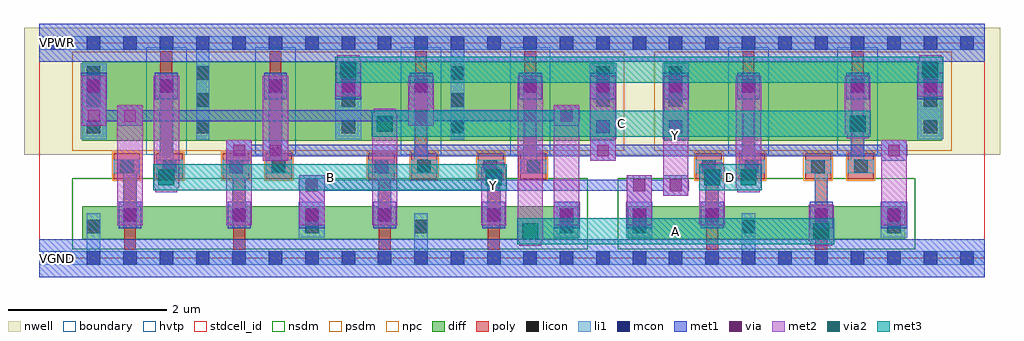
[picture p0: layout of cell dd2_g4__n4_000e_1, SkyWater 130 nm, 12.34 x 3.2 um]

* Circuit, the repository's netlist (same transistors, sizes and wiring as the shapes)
* Generated reference circuit; dimensions in micrometers.
.subckt dd2_g4__n4_000e_1 A B C D VGND VNB VPB VPWR Y
XM0 _net1 A VGND VNB sky130_fd_pr__nfet_01v8 w=0.420 l=0.150
XM1 _net1 A VPWR VPB sky130_fd_pr__pfet_01v8_hvt w=1.000 l=0.150
XM2 _net2 B VGND VNB sky130_fd_pr__nfet_01v8 w=0.420 l=0.150
XM3 _net2 B VPWR VPB sky130_fd_pr__pfet_01v8_hvt w=1.000 l=0.150
XM4 Y D VGND VNB sky130_fd_pr__nfet_01v8 w=0.420 l=0.150
XM5 Y C VGND VNB sky130_fd_pr__nfet_01v8 w=0.420 l=0.150
XM6 Y _net1 _net3 VNB sky130_fd_pr__nfet_01v8 w=0.420 l=0.150
XM7 _net3 _net2 VGND VNB sky130_fd_pr__nfet_01v8 w=0.420 l=0.150
XM8 Y D _net5 VPB sky130_fd_pr__pfet_01v8_hvt w=1.000 l=0.150
XM9 _net5 C _net4 VPB sky130_fd_pr__pfet_01v8_hvt w=1.000 l=0.150
XM10 _net4 _net1 VPWR VPB sky130_fd_pr__pfet_01v8_hvt w=1.000 l=0.150
XM11 _net4 _net2 VPWR VPB sky130_fd_pr__pfet_01v8_hvt w=1.000 l=0.150
.ends dd2_g4__n4_000e_1

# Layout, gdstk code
import gdstk
lib = gdstk.Library(unit=1e-6, precision=1e-09)
def R(c, l, rs):  # rectangles x0, y0, x1, y1
    for r in rs: c.add(gdstk.rectangle(r[:2], r[2:], *l))
def A(c, l, x, y, w, h, nx, ny, dx, dy):  # array of equal rectangles
    R(c, l, [(x+i*dx, y+j*dy, x+i*dx+w, y+j*dy+h) for i in range(nx) for j in range(ny)])
nwell = (64, 20)
diff = (65, 20)
poly = (66, 20)
licon = (66, 44)
li1 = (67, 20)
mcon = (67, 44)
met1 = (68, 20)
via = (68, 44)
met2 = (69, 20)
via2 = (69, 44)
met3 = (70, 20)
hvtp = (78, 44)
stdcell_id = (81, 4)
nsdm = (93, 44)
psdm = (94, 20)
npc = (95, 20)
boundary = (235, 4)

dd2_g4__n4_000e_1 = lib.new_cell('dd2_g4__n4_000e_1')
R(dd2_g4__n4_000e_1, nwell, [(-0.19,1.305,12.15,2.91)])
R(dd2_g4__n4_000e_1, diff, [(0.545,0.235,1.61,0.655), (1.61,0.235,3.45,0.655), (3.45,0.235,4.83,0.655), (4.83,0.235,6.815,0.655), (7.445,0.235,8.97,0.655), (8.97,0.235,10.955,0.655), (0.545,1.485,2.07,2.485), (2.07,1.485,3.91,2.485), (3.91,1.485,5.29,2.485), (5.29,1.485,7.275,2.485), (7.905,1.485,9.2,2.485), (9.2,1.485,11.415,2.485)])
R(dd2_g4__n4_000e_1, poly, [(1.075,0.105,1.225,1.325), (2.455,0.105,2.605,1.325), (4.295,0.105,4.445,1.325), (5.675,0.105,5.825,1.325), (8.435,0.105,8.585,1.325), (9.815,0.105,9.965,1.325), (0.945,0.995,1.275,1.325), (1.485,0.995,1.815,1.325), (1.535,0.995,1.685,2.615), (2.325,0.995,2.655,1.325), (2.865,0.995,3.195,1.325), (2.915,0.995,3.065,2.615), (4.165,0.995,4.495,1.325), (4.705,0.995,5.035,1.325), (4.755,0.995,4.905,2.615), (5.545,0.995,5.875,1.325), (6.085,0.995,6.415,1.325), (6.135,0.995,6.285,2.615), (8.305,0.995,8.635,1.325), (8.845,0.995,9.175,1.325), (8.895,0.995,9.045,2.615), (9.685,0.995,10.015,1.325), (10.225,0.995,10.555,1.325), (10.275,0.995,10.425,2.615)])
A(dd2_g4__n4_000e_1, licon, 0.605, 1.575, 0.17, 0.17, 1, 3, 0, 0.34)
A(dd2_g4__n4_000e_1, licon, 1.985, 1.575, 0.17, 0.17, 1, 3, 0, 0.34)
A(dd2_g4__n4_000e_1, licon, 3.825, 1.575, 0.17, 0.17, 1, 3, 0, 0.34)
A(dd2_g4__n4_000e_1, licon, 5.205, 1.575, 0.17, 0.17, 1, 3, 0, 0.34)
A(dd2_g4__n4_000e_1, licon, 7.045, 1.575, 0.17, 0.17, 1, 3, 0, 0.34)
A(dd2_g4__n4_000e_1, licon, 7.965, 1.575, 0.17, 0.17, 1, 3, 0, 0.34)
A(dd2_g4__n4_000e_1, licon, 11.185, 1.575, 0.17, 0.17, 1, 3, 0, 0.34)
R(dd2_g4__n4_000e_1, licon, [(0.605,0.315,0.775,0.485), (3.365,0.315,3.535,0.485), (4.745,0.315,4.915,0.485), (6.585,0.315,6.755,0.485), (7.505,0.315,7.675,0.485), (8.885,0.315,9.055,0.485), (10.725,0.315,10.895,0.485), (1.025,1.075,1.195,1.245), (1.565,1.075,1.735,1.245), (2.405,1.075,2.575,1.245), (2.945,1.075,3.115,1.245), (4.245,1.075,4.415,1.245), (4.785,1.075,4.955,1.245), (5.625,1.075,5.795,1.245), (6.165,1.075,6.335,1.245), (8.385,1.075,8.555,1.245), (8.925,1.075,9.095,1.245), (9.765,1.075,9.935,1.245), (10.305,1.075,10.475,1.245)])
A(dd2_g4__n4_000e_1, li1, 0.605, -0.085, 0.17, 0.65, 3, 1, 4.14, 0)
A(dd2_g4__n4_000e_1, li1, 0.525, 1.505, 0.33, 0.96, 3, 1, 3.22, 0)
A(dd2_g4__n4_000e_1, li1, 0.525, 2.01, 0.33, 0.33, 3, 1, 3.22, 0)
R(dd2_g4__n4_000e_1, li1, [(0,-0.085,11.96,0.085), (3.285,0.255,3.615,0.635), (6.505,0.255,6.835,0.635), (7.425,0.255,7.755,0.635), (10.645,0.255,10.975,0.635), (1.065,0.38,1.235,0.71), (2.445,0.38,2.615,0.71), (3.285,0.38,3.615,0.71), (4.285,0.38,4.455,0.71), (5.665,0.38,5.835,0.71), (6.505,0.38,6.835,0.71), (7.425,0.38,7.755,0.71), (8.425,0.38,8.595,0.71), (9.805,0.38,9.975,0.71), (10.645,0.38,10.975,0.71), (1.065,0.46,1.235,1.245), (2.445,0.46,2.615,1.245), (4.285,0.46,4.455,1.245), (5.665,0.46,5.835,1.245), (8.425,0.46,8.595,1.245), (9.805,0.46,9.975,1.245), (0.945,1.075,1.275,1.245), (1.485,1.075,1.815,1.245), (1.525,1.075,1.695,2.26), (2.325,1.075,2.655,1.245), (2.865,1.075,3.195,1.245), (2.905,1.075,3.075,2.26), (4.165,1.075,4.495,1.245), (4.705,1.075,5.035,1.245), (4.745,1.075,4.915,2.26), (5.545,1.075,5.875,1.245), (6.085,1.075,6.415,1.245), (6.125,1.075,6.295,2.26), (8.305,1.075,8.635,1.245), (8.845,1.075,9.175,1.245), (8.885,1.075,9.055,2.26), (9.685,1.075,10.015,1.245), (10.225,1.075,10.555,1.245), (10.265,1.075,10.435,2.26), (1.985,1.495,2.155,2.805), (5.205,1.495,5.375,2.805), (7.885,1.505,8.215,2.465), (11.105,1.505,11.435,2.465), (1.525,2.01,1.695,2.34), (2.905,2.01,3.075,2.34), (4.745,2.01,4.915,2.34), (6.125,2.01,6.295,2.34), (7.885,2.01,8.215,2.34), (8.885,2.01,9.055,2.34), (10.265,2.01,10.435,2.34), (11.105,2.01,11.435,2.34), (0,2.635,11.96,2.805)])
A(dd2_g4__n4_000e_1, mcon, 0.145, -0.085, 0.17, 0.17, 26, 2, 0.46, 2.72)
A(dd2_g4__n4_000e_1, mcon, 2.445, 0.46, 0.17, 0.17, 3, 1, 0.92, 0)
A(dd2_g4__n4_000e_1, mcon, 5.665, 0.46, 0.17, 0.17, 4, 1, 0.92, 0)
A(dd2_g4__n4_000e_1, mcon, 2.905, 2.09, 0.17, 0.17, 3, 1, 0.92, 0)
A(dd2_g4__n4_000e_1, mcon, 6.125, 2.09, 0.17, 0.17, 4, 1, 0.92, 0)
R(dd2_g4__n4_000e_1, mcon, [(1.065,0.46,1.235,0.63), (9.805,0.46,9.975,0.63), (10.725,0.46,10.895,0.63), (0.605,2.09,0.775,2.26), (1.525,2.09,1.695,2.26), (10.265,2.09,10.435,2.26), (11.185,2.09,11.355,2.26)])
A(dd2_g4__n4_000e_1, met1, 0.525, 2.01, 0.33, 0.33, 3, 1, 3.22, 0)
R(dd2_g4__n4_000e_1, met1, [(0,-0.24,11.96,0.24), (1.005,0.38,1.295,0.71), (2.385,0.38,2.675,0.71), (3.285,0.38,3.615,0.71), (4.225,0.38,4.515,0.71), (5.605,0.38,5.895,0.71), (6.505,0.38,6.835,0.71), (7.425,0.38,7.755,0.71), (8.365,0.38,8.655,0.71), (9.745,0.38,10.035,0.71), (10.645,0.38,10.975,0.71), (3.29,0.545,3.61,0.92), (7.43,0.545,7.75,0.92), (3.29,0.79,3.61,1.05), (7.43,0.79,7.75,1.05), (7.89,0.79,8.21,1.05), (3.285,0.85,8.215,0.99), (2.37,1.23,2.69,1.49), (2.83,1.23,3.15,1.49), (6.97,1.23,7.29,1.49), (10.65,1.23,10.97,1.49), (2.365,1.29,10.975,1.43), (0.53,1.67,0.85,1.93), (0.99,1.67,1.31,1.93), (4.67,1.67,4.99,1.93), (6.51,1.67,6.83,1.93), (0.525,1.73,6.835,1.87), (0.53,1.8,0.85,2.175), (4.675,1.8,4.985,2.175), (1.465,2.01,1.755,2.34), (2.845,2.01,3.135,2.34), (4.685,2.01,4.975,2.34), (6.065,2.01,6.355,2.34), (7.885,2.01,8.215,2.34), (8.825,2.01,9.115,2.34), (10.205,2.01,10.495,2.34), (11.105,2.01,11.435,2.34), (0,2.48,11.96,2.96)])
A(dd2_g4__n4_000e_1, via, 2.455, 0.47, 0.15, 0.15, 3, 1, 0.92, 0)
A(dd2_g4__n4_000e_1, via, 5.675, 0.47, 0.15, 0.15, 4, 1, 0.92, 0)
A(dd2_g4__n4_000e_1, via, 2.915, 2.1, 0.15, 0.15, 3, 1, 0.92, 0)
A(dd2_g4__n4_000e_1, via, 6.135, 2.1, 0.15, 0.15, 4, 1, 0.92, 0)
R(dd2_g4__n4_000e_1, via, [(1.075,0.47,1.225,0.62), (9.815,0.47,9.965,0.62), (10.735,0.47,10.885,0.62), (3.375,0.845,3.525,0.995), (7.515,0.845,7.665,0.995), (7.975,0.845,8.125,0.995), (2.455,1.285,2.605,1.435), (2.915,1.285,3.065,1.435), (7.055,1.285,7.205,1.435), (10.735,1.285,10.885,1.435), (0.615,1.725,0.765,1.875), (1.075,1.725,1.225,1.875), (4.755,1.725,4.905,1.875), (6.595,1.725,6.745,1.875), (0.615,2.1,0.765,2.25), (1.535,2.1,1.685,2.25), (10.275,2.1,10.425,2.25), (11.195,2.1,11.345,2.25)])
R(dd2_g4__n4_000e_1, met2, [(6.07,0.155,6.35,0.525), (9.75,0.155,10.03,0.525), (6.05,0.21,6.37,2.305), (9.73,0.21,10.05,0.675), (0.99,0.415,1.31,1.93), (2.37,0.415,2.69,1.49), (3.29,0.415,3.61,1.05), (4.21,0.415,4.53,1.83), (5.59,0.415,5.91,1.15), (6.51,0.415,6.83,1.93), (7.43,0.415,7.75,1.05), (8.35,0.415,8.67,1.15), (10.65,0.415,10.97,1.49), (3.29,0.79,3.61,1.05), (7.43,0.79,7.75,1.05), (7.89,0.79,8.21,2.305), (7.89,0.79,8.21,1.05), (1.47,0.835,1.75,1.205), (5.61,0.835,5.89,1.205), (8.37,0.835,8.65,1.205), (8.83,0.835,9.11,1.205), (1.45,0.89,1.77,2.305), (8.81,0.89,9.13,2.305), (2.37,1.23,2.69,1.49), (2.83,1.23,3.15,1.49), (2.83,1.23,3.15,2.305), (6.97,1.23,7.29,1.49), (6.97,1.23,7.29,2.305), (10.65,1.23,10.97,1.49), (4.23,1.515,4.51,1.885), (10.21,1.515,10.49,1.885), (10.19,1.57,10.51,2.305), (0.53,1.67,0.85,1.93), (0.53,1.67,0.85,2.305), (0.99,1.67,1.31,1.93), (4.67,1.67,4.99,1.93), (4.67,1.67,4.99,2.305), (6.51,1.67,6.83,1.93), (3.75,2.045,4.07,2.51), (11.11,2.045,11.43,2.51), (3.77,2.195,4.05,2.565), (11.13,2.195,11.41,2.565)])
R(dd2_g4__n4_000e_1, via2, [(6.11,0.24,6.31,0.44), (9.79,0.24,9.99,0.44), (1.51,0.92,1.71,1.12), (5.65,0.92,5.85,1.12), (8.41,0.92,8.61,1.12), (8.87,0.92,9.07,1.12), (4.27,1.6,4.47,1.8), (10.25,1.6,10.45,1.8), (3.81,2.28,4.01,2.48), (11.17,2.28,11.37,2.48)])
R(dd2_g4__n4_000e_1, met3, [(6.045,0.175,10.055,0.505), (6.045,0.175,6.375,0.505), (9.725,0.175,10.055,0.505), (1.445,0.855,5.915,1.185), (1.445,0.855,1.775,1.185), (5.585,0.855,5.915,1.185), (8.345,0.855,9.135,1.185), (8.345,0.855,8.675,1.185), (8.805,0.855,9.135,1.185), (4.205,1.535,10.515,1.865), (4.205,1.535,4.535,1.865), (10.185,1.535,10.515,1.865), (3.745,2.215,11.435,2.545), (3.745,2.215,4.075,2.545), (11.105,2.215,11.435,2.545)])
R(dd2_g4__n4_000e_1, hvtp, [(1.355,1.305,1.865,2.665), (2.735,1.305,3.245,2.665), (4.575,1.305,5.085,2.665), (5.955,1.305,6.465,2.665), (8.715,1.305,9.225,2.665), (10.095,1.305,10.605,2.665)])
R(dd2_g4__n4_000e_1, stdcell_id, [(0,0,11.96,2.72)])
R(dd2_g4__n4_000e_1, nsdm, [(0.42,0.11,6.94,1.01), (7.32,0.11,11.08,1.01)])
R(dd2_g4__n4_000e_1, psdm, [(0.42,1.36,7.4,2.61), (7.78,1.36,11.54,2.61)])
R(dd2_g4__n4_000e_1, npc, [(0.925,0.975,1.295,1.345), (1.465,0.975,1.835,1.345), (2.305,0.975,2.675,1.345), (2.845,0.975,3.215,1.345), (4.145,0.975,4.515,1.345), (4.685,0.975,5.055,1.345), (5.525,0.975,5.895,1.345), (6.065,0.975,6.435,1.345), (8.285,0.975,8.655,1.345), (8.825,0.975,9.195,1.345), (9.665,0.975,10.035,1.345), (10.205,0.975,10.575,1.345)])
R(dd2_g4__n4_000e_1, boundary, [(0,0,11.96,2.72)])
dd2_g4__n4_000e_1.add(gdstk.Label('VGND', (0.23,0), layer=68, texttype=5))
dd2_g4__n4_000e_1.add(gdstk.Label('VPWR', (0.23,2.72), layer=68, texttype=5))
dd2_g4__n4_000e_1.add(gdstk.Label('Y', (5.75,0.92), layer=68, texttype=5))
dd2_g4__n4_000e_1.add(gdstk.Label('Y', (8.05,1.545), layer=69, texttype=5))
dd2_g4__n4_000e_1.add(gdstk.Label('VPB', (0.23,2.72), layer=64, texttype=5))
dd2_g4__n4_000e_1.add(gdstk.Label('VNB', (0.23,0), layer=64, texttype=59))
dd2_g4__n4_000e_1.add(gdstk.Label('A', (8.05,0.34), layer=70, texttype=5))
dd2_g4__n4_000e_1.add(gdstk.Label('B', (3.68,1.02), layer=70, texttype=5))
dd2_g4__n4_000e_1.add(gdstk.Label('C', (7.36,1.7), layer=70, texttype=5))
dd2_g4__n4_000e_1.add(gdstk.Label('D', (8.74,1.02), layer=70, texttype=5))

lib.write_gds('dd2_g4__n4_000e_1.gds')
